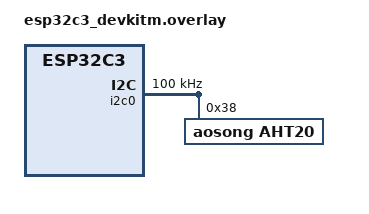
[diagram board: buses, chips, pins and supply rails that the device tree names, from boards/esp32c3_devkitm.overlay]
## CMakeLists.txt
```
# SPDX-License-Identifier: Apache-2.0

cmake_minimum_required(VERSION 3.20.0)

find_package(Zephyr REQUIRED HINTS $ENV{ZEPHYR_BASE})
project(aht20_sensor)

target_sources(app PRIVATE src/main.c)
```

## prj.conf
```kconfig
# Zephyr Project Configuration for ESP32-C3 AHT20 Sensor

# Logging
CONFIG_LOG=y
CONFIG_LOG_DEFAULT_LEVEL=3
CONFIG_SERIAL=y
CONFIG_UART_CONSOLE=y
CONFIG_PRINTK=y

# I2C Support
CONFIG_I2C=y

# USB CDC ACM (USB Serial)
CONFIG_USB_DEVICE_STACK=y
CONFIG_USB_CDC_ACM=y
CONFIG_USB_DEVICE_INITIALIZE_AT_BOOT=n

# System
CONFIG_SYSTEM_WORKQUEUE_STACK_SIZE=2048
CONFIG_MAIN_STACK_SIZE=2048
CONFIG_HEAP_MEM_POOL_SIZE=4096

# GPIO (if needed for debugging)
CONFIG_GPIO=y
```

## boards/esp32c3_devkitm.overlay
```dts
/*
 * Device Tree Overlay for ESP32-C3 DevKitM
 * AHT20 Sensor on I2C
 *
 * Pin Configuration:
 * - I2C SDA: GPIO8
 * - I2C SCL: GPIO9
 */

&i2c0 {
    status = "okay";
    clock-frequency = <I2C_BITRATE_STANDARD>;

    /* AHT20 Sensor */
    aht20@38 {
        compatible = "aosong,aht20";
        reg = <0x38>;
        label = "AHT20";
    };
};

/* Use GPIO8 and GPIO9 for I2C */
&pinctrl {
    i2c0_default: i2c0_default {
        group1 {
            pinmux = <I2C0_SDA_GPIO8>,
                     <I2C0_SCL_GPIO9>;
            bias-pull-up;
            drive-open-drain;
            output-high;
        };
    };
};
```

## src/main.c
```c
/*
 * ESP32-C3 AHT20 Temperature & Humidity Sensor
 * Zephyr RTOS Application
 *
 * Reads temperature and humidity from AHT20 sensor via I2C
 * Outputs data to USB Serial every 5 minutes
 */

#include <zephyr/kernel.h>
#include <zephyr/device.h>
#include <zephyr/drivers/i2c.h>
#include <zephyr/drivers/uart.h>
#include <zephyr/usb/usb_device.h>
#include <zephyr/logging/log.h>

LOG_MODULE_REGISTER(aht20_sensor, LOG_LEVEL_INF);

/* AHT20 I2C Address */
#define AHT20_ADDR 0x38

/* AHT20 Commands */
#define AHT20_CMD_INIT      0xBE
#define AHT20_CMD_TRIGGER   0xAC
#define AHT20_CMD_SOFT_RESET 0xBA

/* I2C Device */
#define I2C_NODE DT_NODELABEL(i2c0)

/* Data sampling interval (5 minutes in milliseconds) */
#define SAMPLE_INTERVAL_MS (5 * 60 * 1000)

/* I2C Device Structure */
static const struct device *i2c_dev;
static const struct device *uart_dev;

/**
 * Initialize AHT20 Sensor
 */
static int aht20_init(void)
{
    uint8_t init_cmd[3] = {AHT20_CMD_INIT, 0x08, 0x00};
    int ret;

    /* Wait for sensor to be ready */
    k_sleep(K_MSEC(40));

    /* Send initialization command */
    ret = i2c_write(i2c_dev, init_cmd, sizeof(init_cmd), AHT20_ADDR);
    if (ret < 0) {
        LOG_ERR("Failed to initialize AHT20: %d", ret);
        return ret;
    }

    k_sleep(K_MSEC(10));
    LOG_INF("AHT20 initialized successfully");

    return 0;
}

/**
 * Trigger measurement and read data from AHT20
 */
static int aht20_read_data(float *temperature, float *humidity)
{
    uint8_t trigger_cmd[3] = {AHT20_CMD_TRIGGER, 0x33, 0x00};
    uint8_t data[7];
    uint32_t raw_humidity, raw_temperature;
    int ret;

    /* Trigger measurement */
    ret = i2c_write(i2c_dev, trigger_cmd, sizeof(trigger_cmd), AHT20_ADDR);
    if (ret < 0) {
        LOG_ERR("Failed to trigger measurement: %d", ret);
        return ret;
    }

    /* Wait for measurement to complete (80ms typical) */
    k_sleep(K_MSEC(100));

    /* Read measurement data */
    ret = i2c_read(i2c_dev, data, sizeof(data), AHT20_ADDR);
    if (ret < 0) {
        LOG_ERR("Failed to read data: %d", ret);
        return ret;
    }

    /* Check if data is ready (bit 7 of status byte should be 0) */
    if (data[0] & 0x80) {
        LOG_WRN("Sensor busy, data not ready");
        return -EBUSY;
    }

    /* Parse humidity data (20 bits) */
    raw_humidity = ((uint32_t)data[1] << 12) |
                   ((uint32_t)data[2] << 4) |
                   ((uint32_t)data[3] >> 4);

    /* Parse temperature data (20 bits) */
    raw_temperature = (((uint32_t)data[3] & 0x0F) << 16) |
                      ((uint32_t)data[4] << 8) |
                      ((uint32_t)data[5]);

    /* Convert to actual values */
    *humidity = ((float)raw_humidity / 1048576.0f) * 100.0f;
    *temperature = (((float)raw_temperature / 1048576.0f) * 200.0f) - 50.0f;

    return 0;
}

/**
 * Send data to UART (USB Serial)
 */
static void send_data_uart(float temperature, float humidity)
{
    char buffer[64];
    int len;

    /* Format: TEMP:23.5,HUMIDITY:65.2\n */
    len = snprintf(buffer, sizeof(buffer),
                   "TEMP:%.2f,HUMIDITY:%.2f\n",
                   temperature, humidity);

    if (len > 0 && len < sizeof(buffer)) {
        for (int i = 0; i < len; i++) {
            uart_poll_out(uart_dev, buffer[i]);
        }

        LOG_INF("Sent: TEMP:%.2f, HUMIDITY:%.2f", temperature, humidity);
    }
}

/**
 * Main application entry point
 */
void main(void)
{
    float temperature, humidity;
    int ret;

    LOG_INF("ESP32-C3 AHT20 Sensor Application Starting...");

    /* Initialize USB Serial */
    uart_dev = DEVICE_DT_GET(DT_CHOSEN(zephyr_console));
    if (!device_is_ready(uart_dev)) {
        LOG_ERR("UART device not ready");
        return;
    }

#ifdef CONFIG_USB_DEVICE_STACK
    ret = usb_enable(NULL);
    if (ret != 0) {
        LOG_ERR("Failed to enable USB: %d", ret);
        return;
    }
    LOG_INF("USB Serial enabled");
    k_sleep(K_SECONDS(2)); /* Wait for USB enumeration */
#endif

    /* Initialize I2C */
    i2c_dev = DEVICE_DT_GET(I2C_NODE);
    if (!device_is_ready(i2c_dev)) {
        LOG_ERR("I2C device not ready");
        return;
    }
    LOG_INF("I2C device ready");

    /* Initialize AHT20 Sensor */
    ret = aht20_init();
    if (ret < 0) {
        LOG_ERR("Failed to initialize AHT20 sensor");
        return;
    }

    LOG_INF("System initialized. Starting measurements...");
    printk("ESP32-C3 AHT20 Sensor Ready\n");

    /* Main loop - read sensor every 5 minutes */
    while (1) {
        ret = aht20_read_data(&temperature, &humidity);

        if (ret == 0) {
            /* Send data via Serial */
            send_data_uart(temperature, humidity);
        } else {
            LOG_ERR("Failed to read sensor data: %d", ret);
            printk("ERROR: Failed to read sensor\n");
        }

        /* Wait 5 minutes before next reading */
        k_sleep(K_MSEC(SAMPLE_INTERVAL_MS));
    }
}
```
